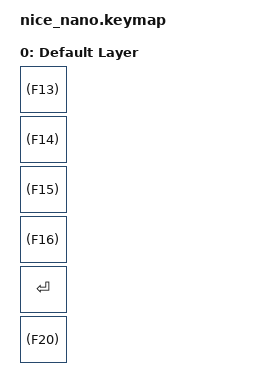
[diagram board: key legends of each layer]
/*
 * Copyright (c) 2022 The ZMK Contributors
 *
 * SPDX-License-Identifier: MIT
 */

#include <behaviors.dtsi>
#include <dt-bindings/zmk/keys.h>
#include <dt-bindings/zmk/bt.h>

/ {
    keymap {
        compatible = "zmk,keymap";

        default_layer {
            display-name = "Default Layer";
            bindings = <
                &kp (F13)
                &kp (F14)
                &kp (F15)
                &kp (F16)
                &kp RETURN
                &kp (F20)
            >;
        };
    };
};
